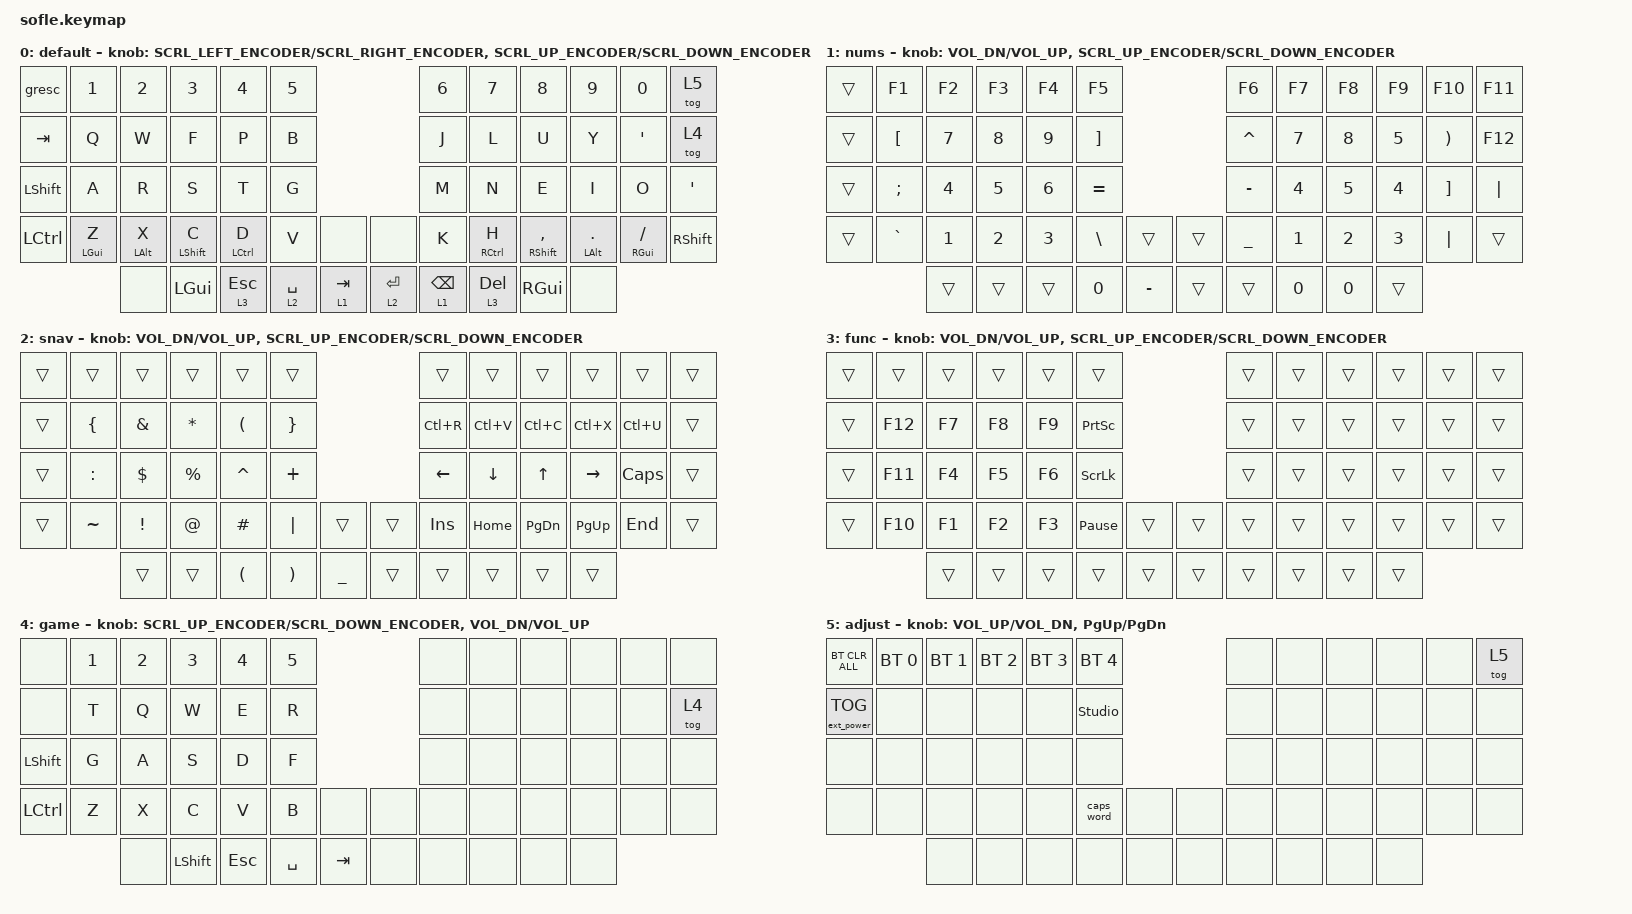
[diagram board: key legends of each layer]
/*
 * Copyright (c) 2020 The ZMK Contributors
 *
 * SPDX-License-Identifier: MIT
 */

#include <behaviors.dtsi>
#include <dt-bindings/zmk/bt.h>
#include <dt-bindings/zmk/ext_power.h>
#include <dt-bindings/zmk/keys.h>

#include "mouse.dtsi"

#define BASE 0
#define NUMS 1
#define SNAV 2
#define FUNC 3
#define GAMING 4
#define ADJUST 5

&left_encoder { steps = <0>; };
&right_encoder { steps = <0>; };

&sensors {
    triggers-per-rotation = <96>;
};

/ {
    behaviors {
        caps: caps {
            compatible = "zmk,behavior-caps-word";
            label = "CAPS";
            #binding-cells = <0>;
            continue-list = <POUND MINUS BACKSPACE UNDERSCORE>;
        };
    };

    keymap {
        compatible = "zmk,keymap";

        default_layer {
            display-name = "default";

            // ------------------------------------------------------------------------------------------------------------
            // |   `   |  1  |  2  |  3   |  4   |  5   |                   |  6   |  7    |  8    |  9   |   0   |       |
            // |  ESC  |  Q  |  W  |  F   |  P   |  B   |                   |  J   |  L    |  U    |  Y   |   '   | BKSPC |
            // |  TAB  |  A  |  R  |  S   |  T   |  G   |                   |  M   |  N    |  E    |  I   |   O   |   '   |
            // | SHIFT |  Z  |  X  |  C   |  D   |  V   |  MUTE  |  | SCRL  |  K   |  H    |  ,    |  .   |   /   | SHIFT |
            //               |     | GUI  | ESC  | TAB  |  SPACE |  | ENTER | BSPC | DEL   | GUI   |      |

            bindings = <
&gresc            &kp N1       &kp N2       &kp N3       &kp N4        &kp N5                                        &kp N6         &kp N7        &kp N8           &kp N9        &kp N0         &tog 5
&kp TAB           &kp Q        &kp W        &kp F        &kp P         &kp B                                         &kp J          &kp L         &kp U            &kp Y         &kp SQT        &tog 4
&kp LEFT_SHIFT    &kp A        &kp R        &kp S        &kp T         &kp G                                         &kp M          &kp N         &kp E            &kp I         &kp O          &kp SQT
&kp LEFT_CONTROL  &mt LGUI Z   &mt LALT X   &mt LSHFT C  &mt LCTRL D   &kp V         &none           &none           &kp K          &mt RCTRL H   &mt RSHFT COMMA  &mt LALT DOT  &mt RGUI FSLH  &kp RSHFT
                               &none        &kp LGUI     &lt 3 ESC     &lt 2 SPACE   &lt 1 TAB       &lt 2 ENTER     &lt 1 BSPC     &lt 3 DEL     &kp RGUI         &none
            >;

            // sensor-bindings = <&inc_dec_kp C_VOL_DN C_VOL_UP &inc_dec_kp C_VOL_DN C_VOL_UP>;
            // sensor-bindings = <&inc_dec_kp C_VOL_DN C_VOL_UP &scroll_up_down SCRL_UP SCRL_DOWN>;
            // sensor-bindings = <&inc_dec_kp C_VOL_DN C_VOL_UP &inc_dec_msc SCRL_UP SCRL_DOWN>;
            sensor-bindings = <&inc_dec_msc SCRL_LEFT_ENCODER SCRL_RIGHT_ENCODER &inc_dec_msc SCRL_UP_ENCODER SCRL_DOWN_ENCODER>;
        };

        num_layer {
            display-name = "nums";

            // ------------------------------------------------------------------------------------------------------------
            // |       |  F1 |  F2 |  F3  |  F4  |  F5  |                   |  F6  |  F7   |  F8   |  F9  |  F10  |  F11  |
            // |   `   |  1  |  2  |  3   |  4   |  5   |                   |  6   |  7    |  8    |  9   |   0   |  F12  |
            // |       |  !  |  @  |  #   |  $   |  %   |                   |  ^   |  &    |  *    |  (   |   )   |   |   |
            // |       |  =  |  -  |  +   |  {   |  }   |        |  |       |  [   |  ]    |  ;    |  :   |   \   |       |
            //               |     |      |      |      |        |  |       |      |       |       |      |

            bindings = <
&trans  &kp F1     &kp F2     &kp F3    &kp F4  &kp F5                          &kp F6          &kp F7         &kp F8          &kp F9                &kp F10                &kp F11
&trans  &kp LBKT   &kp N7     &kp N8    &kp N9  &kp RBKT                        &kp CARET       &kp N7         &kp N8          &kp N5                &kp RIGHT_PARENTHESIS  &kp F12
&trans  &kp SEMI   &kp N4     &kp N5    &kp N6  &kp EQUAL                       &kp MINUS       &kp N4         &kp N5          &kp N4                &kp RIGHT_BRACKET      &kp PIPE
&trans  &kp GRAVE  &kp N1     &kp N2    &kp N3  &kp BSLH     &trans     &trans  &kp UNDERSCORE  &kp N1         &kp N2          &kp N3                &kp PIPE               &trans
                   &trans     &trans    &trans    &kp N0     &kp MINUS  &trans  &trans          &kp N0         &kp N0          &trans
            >;

            // sensor-bindings = <&inc_dec_kp C_VOL_DN C_VOL_UP &inc_dec_kp C_VOL_DN C_VOL_UP>;
            // sensor-bindings = <&inc_dec_kp C_VOL_DN C_VOL_UP &scroll_up_down SCRL_UP SCRL_DOWN>;
            // sensor-bindings = <&inc_dec_kp C_VOL_DN C_VOL_UP &inc_dec_msc SCRL_UP SCRL_DOWN>;
            sensor-bindings = <&inc_dec_kp C_VOL_DN C_VOL_UP &inc_dec_msc SCRL_UP_ENCODER SCRL_DOWN_ENCODER>;
        };

        snav_layer {
            display-name = "snav";

            // ------------------------------------------------------------------------------------------------------------
            // |       |      |     |     |       |     |                |      |      |       |      |       |       |
            // |       |  {   |  &  |  *  |   (   |  }  |                | REDO | PSTE | COPY  |  CUT |  UNDO |       |
            // |       |  :   |  $  |  %  |   ^   |  +  |                | <-   |   v  |   ^   |  ->  |  DEL  |       |
            // |       |  ~   |  !  |  @  |   #   |  |  |      |  |      | INS  | HOME | PG_DN | PG_UP|  END  |       |
            //                |     |     |       |     |      |  |      |      |      |       |      |

            bindings = <
&trans  &trans      &trans     &trans       &trans       &trans                       &trans         &trans          &trans          &trans        &trans         &trans
&trans  &kp LBRC    &kp AMPS   &kp STAR     &kp LPAR     &kp RBRC                     &kp LC(R)      &kp LC(V)       &kp LC(C)       &kp LC(X)     &kp LC(U)      &trans
&trans  &kp COLON   &kp DLLR   &kp PRCNT    &kp CARET    &kp PLUS                     &kp LEFT       &kp DOWN        &kp UP          &kp RIGHT     &kp CAPS       &trans
&trans  &kp TILDE   &kp EXCL   &kp AT       &kp POUND    &kp PIPE  &trans     &trans  &kp INS        &kp HOME        &kp PG_DN       &kp PG_UP     &kp END        &trans
                    &trans     &trans       &kp LPAR     &kp RPAR  &kp UNDER  &trans  &trans         &trans          &trans          &trans
            >;

            // sensor-bindings = <&inc_dec_kp C_VOL_DN C_VOL_UP &inc_dec_kp C_VOL_DN C_VOL_UP>;
            // sensor-bindings = <&inc_dec_kp C_VOL_DN C_VOL_UP &scroll_left_right SCRL_LEFT SCRL_RIGHT>;
            // sensor-bindings = <&inc_dec_msc SCRL_LEFT SCRL_RIGHT &inc_dec_msc SCRL_UP SCRL_DOWN>;
            sensor-bindings = <&inc_dec_kp C_VOL_DN C_VOL_UP &inc_dec_msc SCRL_UP_ENCODER SCRL_DOWN_ENCODER>;
        };

        func_layer {
            display-name = "func";

            // ----------------------------------------------------------------------------------------------------------------------------
            // |        |     |     |    |    |             |                  |      |      |       |      |       |       |
            // |        | F12 |  F7 | F8 | F9 | PRSCN       |                  |      |      |       |      |       |       |
            // |        | F11 |  F4 | F5 | F6 | SLCK        |                  |      |      |       |      |       |       |
            // |        | F10 |  F1 | F2 | F3 | PAUSE_BREAK |         | |      |      |      |       |      |       |       |
            //                |     |    |    |             |         | |      |      |      |       |      |

            bindings = <
&trans  &trans   &trans  &trans  &trans  &trans                             &trans  &trans  &trans  &trans  &trans  &trans
&trans  &kp F12  &kp F7  &kp F8  &kp F9  &kp PSCRN                          &trans  &trans  &trans  &trans  &trans  &trans
&trans  &kp F11  &kp F4  &kp F5  &kp F6  &kp SLCK                           &trans  &trans  &trans  &trans  &trans  &trans
&trans  &kp F10  &kp F1  &kp F2  &kp F3  &kp PAUSE_BREAK  &trans    &trans  &trans  &trans  &trans  &trans  &trans  &trans
                 &trans  &trans  &trans  &trans           &trans    &trans  &trans  &trans  &trans  &trans
            >;

            // sensor-bindings = <&inc_dec_kp C_VOL_DN C_VOL_UP &inc_dec_kp C_VOL_DN C_VOL_UP>;
            // sensor-bindings = <&inc_dec_msc SCRL_LEFT SCRL_RIGHT &inc_dec_msc SCRL_UP SCRL_DOWN>;
            // sensor-bindings = <&inc_dec_kp C_VOL_DN C_VOL_UP &scroll_left_right SCRL_LEFT SCRL_RIGHT>;
            sensor-bindings = <&inc_dec_kp C_VOL_DN C_VOL_UP &inc_dec_msc SCRL_UP_ENCODER SCRL_DOWN_ENCODER>;
        };

        game_layer {
            display-name = "game";
            // ----------------------------------------------------------------------------------------------------------------------------
            // | BTCLR  |  BT1    |  BT2    |   BT3   |   BT4   |   BT5   |                  |      |      |       |      |       |       |
            // | EXTPWR | RGB_HUD | RGB_HUI | RGB_SAD | RGB_SAI | RGB_EFF |                  |      |      |       |      |       |       |
            // |        | RGB_BRD | RGB_BRI |         |         |         |                  |      |      |       |      |       |       |
            // |        |         |         |         |         |         | RGB_TOG | |      |      |      |       |      |       |       |
            //                    |         |         |         |         |         | |      |      |      |       |      |

            bindings = <
&none      &kp N1  &kp N2  &kp N3     &kp N4   &kp N5                             &none  &none  &none  &none  &none  &none
&none      &kp T   &kp Q   &kp W      &kp E    &kp R                              &none  &none  &none  &none  &none  &tog 4
&kp LSHFT  &kp G   &kp A   &kp S      &kp D    &kp F                              &none  &none  &none  &none  &none  &none
&kp LCTRL  &kp Z   &kp X   &kp C      &kp V    &kp B      &none       &none       &none  &none  &none  &none  &none  &none
                   &none   &kp LSHFT  &kp ESC  &kp SPACE  &kp TAB     &none       &none  &none  &none  &none
            >;

            // sensor-bindings = <&inc_dec_kp C_VOL_DN C_VOL_UP &inc_dec_kp C_VOL_DN C_VOL_UP>;
            // sensor-bindings = <&inc_dec_msc SCRL_LEFT SCRL_RIGHT &inc_dec_msc SCRL_UP SCRL_DOWN>;
            // sensor-bindings = <&scroll_up_down SCRL_UP SCRL_DOWN &scroll_left_right SCRL_LEFT SCRL_RIGHT>;
            sensor-bindings = <&inc_dec_msc SCRL_UP_ENCODER SCRL_DOWN_ENCODER &inc_dec_kp C_VOL_DN C_VOL_UP>;
        };

        adjust_layer {
            display-name = "adjust";
            // ----------------------------------------------------------------------------------------------------------------------------
            // | BTCLR  |  BT1    |  BT2    |   BT3   |   BT4   |   BT5   |                  |      |      |       |      |       |       |
            // | EXTPWR | RGB_HUD | RGB_HUI | RGB_SAD | RGB_SAI | RGB_EFF |                  |      |      |       |      |       |       |
            // |        | RGB_BRD | RGB_BRI |         |         |         |                  |      |      |       |      |       |       |
            // |        |         |         |         |         |         | RGB_TOG | |      |      |      |       |      |       |       |
            //                    |         |         |         |         |         | |      |      |      |       |      |

            bindings = <
&bt BT_CLR_ALL     &bt BT_SEL 0  &bt BT_SEL 1  &bt BT_SEL 2  &bt BT_SEL 3  &bt BT_SEL 4                            &none  &none  &none  &none  &none  &tog 5
&ext_power EP_TOG  &none         &none         &none         &none         &studio_unlock                          &none  &none  &none  &none  &none  &none
&none              &none         &none         &none         &none         &none                                   &none  &none  &none  &none  &none  &none
&none              &none         &none         &none         &none         &caps_word      &none       &none       &none  &none  &none  &none  &none  &none
                                 &none         &none         &none         &none           &none       &none       &none  &none  &none  &none
            >;

            sensor-bindings = <&inc_dec_kp C_VOL_UP C_VOL_DN &inc_dec_kp PG_UP PG_DN>;
        };
    };
};
